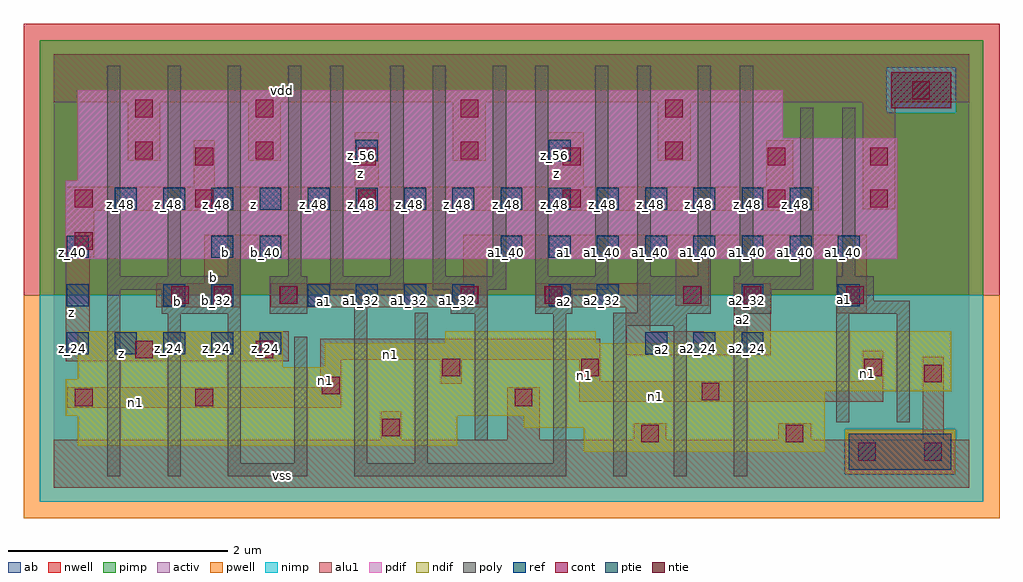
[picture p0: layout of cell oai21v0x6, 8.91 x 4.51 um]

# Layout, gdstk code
import gdstk
lib = gdstk.Library(unit=1e-6, precision=2.5e-09)
def R(c, l, rs):  # rectangles x0, y0, x1, y1
    for r in rs: c.add(gdstk.rectangle(r[:2], r[2:], *l))
def A(c, l, x, y, w, h, nx, ny, dx, dy):  # array of equal rectangles
    R(c, l, [(x+i*dx, y+j*dy, x+i*dx+w, y+j*dy+h) for i in range(nx) for j in range(ny)])
ndif = (3, 0)
pdif = (4, 0)
ntie = (5, 0)
ptie = (6, 0)
ref = (24, 0)
cont = (25, 0)
pwell = (41, 0)
nwell = (42, 0)
activ = (43, 0)
pimp = (44, 0)
nimp = (45, 0)
poly = (46, 0)
alu1 = (49, 0)
ab = (63, 0)

oai21v0x6 = lib.new_cell('oai21v0x6')
R(oai21v0x6, ndif, [(4.84,0.33,7.04,0.55), (0.22,0.385,3.685,0.66), (4.29,0.55,7.04,0.66), (0.11,0.66,7.04,0.88), (0.11,0.88,8.195,0.99), (0.22,0.99,8.195,1.1), (0.22,1.1,2.09,1.43), (2.475,1.1,8.195,1.32), (3.575,1.32,4.95,1.43), (5.94,1.32,8.195,1.43)])
R(oai21v0x6, pdif, [(0.11,2.09,7.7,2.805), (0.22,2.805,7.7,3.19), (0.22,3.19,6.655,3.63)])
R(oai21v0x6, ntie, [(7.645,3.465,8.195,3.795)])
R(oai21v0x6, ptie, [(7.26,0.165,8.195,0.495)])
A(oai21v0x6, ref, 0.12, 1.22, 0.2, 0.2, 5, 1, 0.44, 0)
A(oai21v0x6, ref, 5.4, 1.22, 0.2, 0.2, 3, 1, 0.44, 0)
A(oai21v0x6, ref, 2.32, 1.66, 0.2, 0.2, 4, 1, 0.44, 0)
A(oai21v0x6, ref, 4.08, 2.1, 0.2, 0.2, 8, 1, 0.44, 0)
A(oai21v0x6, ref, 0.56, 2.54, 0.2, 0.2, 15, 1, 0.44, 0)
R(oai21v0x6, ref, [(0.12,1.66,0.32,1.86), (1,1.66,1.2,1.86), (1.44,1.66,1.64,1.86), (4.52,1.66,4.72,1.86), (4.96,1.66,5.16,1.86), (6.28,1.66,6.48,1.86), (7.16,1.66,7.36,1.86), (0.12,2.1,0.32,2.3), (1.44,2.1,1.64,2.3), (1.88,2.1,2.08,2.3), (2.76,2.98,2.96,3.18), (4.52,2.98,4.72,3.18)])
A(oai21v0x6, cont, 2.78, 2.56, 0.16, 0.16, 3, 2, 1.87, 0.385)
A(oai21v0x6, cont, 1.845, 3, 0.16, 0.16, 3, 2, 1.87, 0.385)
R(oai21v0x6, cont, [(7.345,0.25,7.505,0.41), (7.95,0.25,8.11,0.41), (5.365,0.415,5.525,0.575), (6.685,0.415,6.845,0.575), (3,0.47,3.16,0.63), (0.195,0.745,0.355,0.905), (1.295,0.745,1.455,0.905), (4.21,0.745,4.37,0.905), (5.915,0.8,6.075,0.96), (2.45,0.855,2.61,1.015), (7.95,0.965,8.11,1.125), (3.55,1.02,3.71,1.18), (4.815,1.02,4.975,1.18), (7.4,1.02,7.56,1.18), (0.745,1.185,0.905,1.345), (1.845,1.185,2.005,1.345), (1.075,1.68,1.235,1.84), (1.46,1.68,1.62,1.84), (2.065,1.68,2.225,1.84), (3.715,1.68,3.875,1.84), (4.485,1.68,4.645,1.84), (5.75,1.68,5.91,1.84), (6.3,1.68,6.46,1.84), (7.235,1.68,7.395,1.84), (0.195,2.175,0.355,2.335), (0.195,2.56,0.355,2.72), (1.295,2.56,1.455,2.72), (7.455,2.56,7.615,2.72), (1.295,2.945,1.455,3.105), (7.455,2.945,7.615,3.105), (0.745,3,0.905,3.16), (0.745,3.385,0.905,3.545), (7.84,3.55,8,3.71)])
R(oai21v0x6, pwell, [(-0.275,-0.275,8.635,1.76)])
R(oai21v0x6, nwell, [(-0.275,1.76,8.635,4.235)])
R(oai21v0x6, activ, [(7.26,0.165,8.195,0.495), (4.84,0.33,7.04,0.55), (0.22,0.385,3.685,0.66), (4.29,0.55,7.04,0.66), (0.11,0.66,7.04,0.88), (0.11,0.88,8.195,0.99), (0.22,0.99,8.195,1.1), (0.22,1.1,2.09,1.43), (2.475,1.1,8.195,1.32), (3.575,1.32,4.95,1.43), (5.94,1.32,8.195,1.43), (0.11,2.09,7.7,2.805), (0.22,2.805,7.7,3.19), (0.22,3.19,6.655,3.63), (7.645,3.465,8.195,3.795)])
R(oai21v0x6, pimp, [(7.22,0.125,8.235,0.535), (-0.125,1.76,8.485,3.425), (-0.125,3.425,7.605,3.835), (8.235,3.425,8.485,3.835), (-0.125,3.835,8.485,4.085)])
R(oai21v0x6, nimp, [(-0.125,-0.125,8.485,0.125), (-0.125,0.125,7.22,0.535), (8.235,0.125,8.485,0.535), (-0.125,0.535,8.485,1.76), (7.605,3.425,8.235,3.835)])
A(oai21v0x6, poly, 2.525, 1.81, 0.67, 0.12, 3, 1, 0.935, 0)
A(oai21v0x6, poly, 0.49, 1.93, 0.12, 1.925, 4, 1, 0.55, 0)
R(oai21v0x6, poly, [(0.49,0.105,0.61,1.81), (1.04,0.105,1.16,1.59), (1.59,0.105,2.315,0.225), (2.745,0.105,4.68,0.225), (5.11,0.105,5.23,1.48), (5.66,0.105,5.78,1.48), (6.21,0.105,6.33,1.59), (1.59,0.225,1.71,1.59), (2.195,0.225,2.315,1.38), (2.745,0.225,2.865,1.81), (3.295,0.225,3.415,1.6), (4.56,0.225,4.68,1.59), (3.845,0.435,3.965,1.59), (7.145,0.6,7.265,1.59), (7.695,0.6,7.815,1.59), (5.11,1.48,5.78,1.59), (0.985,1.59,1.71,1.81), (1.975,1.59,2.315,1.93), (3.625,1.59,3.965,1.81), (4.395,1.59,4.735,1.81), (5.11,1.59,6,1.6), (6.21,1.59,6.55,1.81), (7.145,1.59,7.815,1.71), (5.33,1.6,6,1.93), (7.145,1.71,7.485,1.93), (0.49,1.81,1.71,1.93), (6.21,1.81,6.935,1.93), (2.525,1.93,2.645,3.855), (3.075,1.93,3.195,3.855), (3.46,1.93,3.58,3.855), (4.01,1.93,4.13,3.855), (4.395,1.93,4.515,3.855), (4.945,1.93,5.065,3.855), (5.33,1.93,5.45,3.855), (5.88,1.93,6,3.855), (6.265,1.93,6.385,3.855), (6.815,1.93,6.935,3.47), (7.2,1.93,7.32,3.47)])
A(oai21v0x6, alu1, 1.775, 2.985, 0.3, 0.535, 3, 1, 1.87, 0)
R(oai21v0x6, alu1, [(0,0,8.36,0.44), (2.985,0.44,3.175,0.7), (4.14,0.44,4.44,0.92), (5.295,0.44,5.595,0.59), (6.615,0.44,6.915,0.59), (7.935,0.44,8.125,1.195), (0.125,0.73,2.625,0.92), (4.8,0.785,7.575,0.975), (2.435,0.92,2.625,1.17), (3.535,0.95,3.725,1.17), (4.8,0.975,4.99,1.17), (7.385,0.975,7.575,1.25), (0.11,1.155,2.145,1.43), (2.435,1.17,4.99,1.36), (5.225,1.21,6.545,1.43), (0.11,1.43,0.33,2.105), (5.225,1.43,5.445,1.65), (6.215,1.43,6.545,1.87), (7.15,1.595,7.425,2.09), (0.935,1.65,1.705,1.87), (1.98,1.65,3.96,1.87), (4.4,1.65,5.445,1.87), (5.68,1.665,5.98,2.09), (1.375,1.87,1.705,2.09), (3.74,1.87,3.96,2.09), (1.375,2.09,2.145,2.31), (3.74,2.09,7.425,2.31), (0.11,2.105,0.37,2.53), (0.11,2.53,6.985,2.75), (7.385,2.545,7.685,3.52), (1.28,2.75,1.47,3.175), (2.75,2.75,2.97,3.245), (4.51,2.75,4.84,3.245), (6.505,2.75,6.75,3.175), (0.675,2.985,0.975,3.52), (0,3.52,8.36,3.96)])
R(oai21v0x6, ab, [(0,0,8.36,3.96)])
oai21v0x6.add(gdstk.Label('vss', (2.09,0.11), layer=49, texttype=0))
oai21v0x6.add(gdstk.Label('n1', (5.4925,0.8325), layer=49, texttype=0))
oai21v0x6.add(gdstk.Label('n1', (0.75,0.7775), layer=49, texttype=0))
oai21v0x6.add(gdstk.Label('n1', (7.4325,1.0425), layer=49, texttype=0))
oai21v0x6.add(gdstk.Label('n1', (4.8475,1.0225), layer=49, texttype=0))
oai21v0x6.add(gdstk.Label('n1', (2.4825,0.9825), layer=49, texttype=0))
oai21v0x6.add(gdstk.Label('a2', (5.555,1.265), layer=49, texttype=0))
oai21v0x6.add(gdstk.Label('n1', (3.0725,1.2175), layer=49, texttype=0))
oai21v0x6.add(gdstk.Label('z', (0.6175,1.2225), layer=49, texttype=0))
oai21v0x6.add(gdstk.Label('a1', (7.2175,1.7175), layer=49, texttype=0))
oai21v0x6.add(gdstk.Label('a2', (6.2975,1.54), layer=49, texttype=0))
oai21v0x6.add(gdstk.Label('a2', (4.66,1.705), layer=49, texttype=0))
oai21v0x6.add(gdstk.Label('a1', (2.475,1.705), layer=49, texttype=0))
oai21v0x6.add(gdstk.Label('b', (1.1275,1.705), layer=49, texttype=0))
oai21v0x6.add(gdstk.Label('b', (1.4575,1.925), layer=49, texttype=0))
oai21v0x6.add(gdstk.Label('a1', (4.66,2.145), layer=49, texttype=0))
oai21v0x6.add(gdstk.Label('b', (1.5675,2.145), layer=49, texttype=0))
oai21v0x6.add(gdstk.Label('z', (0.165,1.5975), layer=49, texttype=0))
oai21v0x6.add(gdstk.Label('z', (1.8275,2.585), layer=49, texttype=0))
oai21v0x6.add(gdstk.Label('z', (4.5925,2.8725), layer=49, texttype=0))
oai21v0x6.add(gdstk.Label('z', (2.805,2.8725), layer=49, texttype=0))
oai21v0x6.add(gdstk.Label('vdd', (2.09,3.63), layer=49, texttype=0))
oai21v0x6.add(gdstk.Label('z_48', (5.01,2.59), layer=24, texttype=0))
oai21v0x6.add(gdstk.Label('a1_40', (5.01,2.15), layer=24, texttype=0))
oai21v0x6.add(gdstk.Label('a2_32', (5.01,1.71), layer=24, texttype=0))
oai21v0x6.add(gdstk.Label('z_56', (4.57,3.03), layer=24, texttype=0))
oai21v0x6.add(gdstk.Label('z_48', (4.57,2.59), layer=24, texttype=0))
oai21v0x6.add(gdstk.Label('a1_40', (4.57,2.15), layer=24, texttype=0))
oai21v0x6.add(gdstk.Label('a2_32', (4.57,1.71), layer=24, texttype=0))
oai21v0x6.add(gdstk.Label('z_48', (4.13,2.59), layer=24, texttype=0))
oai21v0x6.add(gdstk.Label('a1_40', (4.13,2.15), layer=24, texttype=0))
oai21v0x6.add(gdstk.Label('z_48', (3.69,2.59), layer=24, texttype=0))
oai21v0x6.add(gdstk.Label('a1_32', (3.69,1.71), layer=24, texttype=0))
oai21v0x6.add(gdstk.Label('z_48', (3.25,2.59), layer=24, texttype=0))
oai21v0x6.add(gdstk.Label('a1_32', (3.25,1.71), layer=24, texttype=0))
oai21v0x6.add(gdstk.Label('z_56', (2.81,3.03), layer=24, texttype=0))
oai21v0x6.add(gdstk.Label('z_48', (2.81,2.59), layer=24, texttype=0))
oai21v0x6.add(gdstk.Label('a1_32', (2.81,1.71), layer=24, texttype=0))
oai21v0x6.add(gdstk.Label('z_48', (2.37,2.59), layer=24, texttype=0))
oai21v0x6.add(gdstk.Label('a1_32', (2.37,1.71), layer=24, texttype=0))
oai21v0x6.add(gdstk.Label('z_40', (0.17,2.15), layer=24, texttype=0))
oai21v0x6.add(gdstk.Label('z_32', (0.17,1.71), layer=24, texttype=0))
oai21v0x6.add(gdstk.Label('z_24', (0.17,1.27), layer=24, texttype=0))
oai21v0x6.add(gdstk.Label('z_48', (1.93,2.59), layer=24, texttype=0))
oai21v0x6.add(gdstk.Label('b_40', (1.93,2.15), layer=24, texttype=0))
oai21v0x6.add(gdstk.Label('z_24', (1.93,1.27), layer=24, texttype=0))
oai21v0x6.add(gdstk.Label('z_48', (1.49,2.59), layer=24, texttype=0))
oai21v0x6.add(gdstk.Label('b_40', (1.49,2.15), layer=24, texttype=0))
oai21v0x6.add(gdstk.Label('b_32', (1.49,1.71), layer=24, texttype=0))
oai21v0x6.add(gdstk.Label('z_24', (1.49,1.27), layer=24, texttype=0))
oai21v0x6.add(gdstk.Label('z_48', (1.05,2.59), layer=24, texttype=0))
oai21v0x6.add(gdstk.Label('b_32', (1.05,1.71), layer=24, texttype=0))
oai21v0x6.add(gdstk.Label('z_24', (1.05,1.27), layer=24, texttype=0))
oai21v0x6.add(gdstk.Label('a1_40', (7.21,2.15), layer=24, texttype=0))
oai21v0x6.add(gdstk.Label('a1_32', (7.21,1.71), layer=24, texttype=0))
oai21v0x6.add(gdstk.Label('z_48', (6.77,2.59), layer=24, texttype=0))
oai21v0x6.add(gdstk.Label('a1_40', (6.77,2.15), layer=24, texttype=0))
oai21v0x6.add(gdstk.Label('z_48', (0.61,2.59), layer=24, texttype=0))
oai21v0x6.add(gdstk.Label('z_24', (0.61,1.27), layer=24, texttype=0))
oai21v0x6.add(gdstk.Label('z_48', (6.33,2.59), layer=24, texttype=0))
oai21v0x6.add(gdstk.Label('a1_40', (6.33,2.15), layer=24, texttype=0))
oai21v0x6.add(gdstk.Label('a2_32', (6.33,1.71), layer=24, texttype=0))
oai21v0x6.add(gdstk.Label('a2_24', (6.33,1.27), layer=24, texttype=0))
oai21v0x6.add(gdstk.Label('z_48', (5.89,2.59), layer=24, texttype=0))
oai21v0x6.add(gdstk.Label('a1_40', (5.89,2.15), layer=24, texttype=0))
oai21v0x6.add(gdstk.Label('a2_24', (5.89,1.27), layer=24, texttype=0))
oai21v0x6.add(gdstk.Label('z_48', (5.45,2.59), layer=24, texttype=0))
oai21v0x6.add(gdstk.Label('a1_40', (5.45,2.15), layer=24, texttype=0))
oai21v0x6.add(gdstk.Label('a2_24', (5.45,1.27), layer=24, texttype=0))

lib.write_gds('oai21v0x6.gds')
